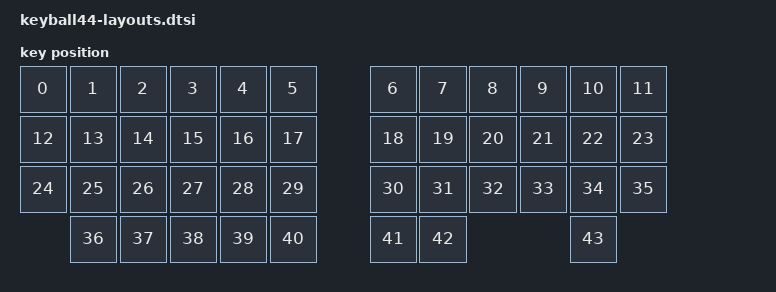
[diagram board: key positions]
#include <physical_layouts.dtsi>

/ {
    yutingwang_keyball44_layout: yutingwang_keyball44_layout {
        compatible = "zmk,physical-layout";
        display-name = "44 Key";

        keys  //                     w   h    x    y     rot    rx    ry
            = <&key_physical_attrs 100 100    0    0       0     0     0>
            , <&key_physical_attrs 100 100  100    0       0     0     0>
            , <&key_physical_attrs 100 100  200    0       0     0     0>
            , <&key_physical_attrs 100 100  300    0       0     0     0>
            , <&key_physical_attrs 100 100  400    0       0     0     0>
            , <&key_physical_attrs 100 100  500    0       0     0     0>
            , <&key_physical_attrs 100 100  700    0       0     0     0>
            , <&key_physical_attrs 100 100  800    0       0     0     0>
            , <&key_physical_attrs 100 100  900    0       0     0     0>
            , <&key_physical_attrs 100 100 1000    0       0     0     0>
            , <&key_physical_attrs 100 100 1100    0       0     0     0>
            , <&key_physical_attrs 100 100 1200    0       0     0     0>
            , <&key_physical_attrs 100 100    0  100       0     0     0>
            , <&key_physical_attrs 100 100  100  100       0     0     0>
            , <&key_physical_attrs 100 100  200  100       0     0     0>
            , <&key_physical_attrs 100 100  300  100       0     0     0>
            , <&key_physical_attrs 100 100  400  100       0     0     0>
            , <&key_physical_attrs 100 100  500  100       0     0     0>
            , <&key_physical_attrs 100 100  700  100       0     0     0>
            , <&key_physical_attrs 100 100  800  100       0     0     0>
            , <&key_physical_attrs 100 100  900  100       0     0     0>
            , <&key_physical_attrs 100 100 1000  100       0     0     0>
            , <&key_physical_attrs 100 100 1100  100       0     0     0>
            , <&key_physical_attrs 100 100 1200  100       0     0     0>
            , <&key_physical_attrs 100 100    0  200       0     0     0>
            , <&key_physical_attrs 100 100  100  200       0     0     0>
            , <&key_physical_attrs 100 100  200  200       0     0     0>
            , <&key_physical_attrs 100 100  300  200       0     0     0>
            , <&key_physical_attrs 100 100  400  200       0     0     0>
            , <&key_physical_attrs 100 100  500  200       0     0     0>
            , <&key_physical_attrs 100 100  700  200       0     0     0>
            , <&key_physical_attrs 100 100  800  200       0     0     0>
            , <&key_physical_attrs 100 100  900  200       0     0     0>
            , <&key_physical_attrs 100 100 1000  200       0     0     0>
            , <&key_physical_attrs 100 100 1100  200       0     0     0>
            , <&key_physical_attrs 100 100 1200  200       0     0     0>
            , <&key_physical_attrs 100 100  100  300       0     0     0>
            , <&key_physical_attrs 100 100  200  300       0     0     0>
            , <&key_physical_attrs 100 100  300  300       0     0     0>
            , <&key_physical_attrs 100 100  400  300       0     0     0>
            , <&key_physical_attrs 100 100  500  300       0     0     0>
            , <&key_physical_attrs 100 100  700  300       0     0     0>
            , <&key_physical_attrs 100 100  800  300       0     0     0>
            , <&key_physical_attrs 100 100 1100  300       0     0     0>
            ;
    };
};

/ {
    layouts_yutingwang_keyball44_position_map: layouts_yutingwang_keyball44_position_map {
        compatible = "zmk,physical-layout-position-map";

        complete;
    };
};

&layouts_yutingwang_keyball44_position_map {
    yutingwang_keyball44_posmap: keyball44 {
        physical-layout = <&yutingwang_keyball44_layout>;
        positions
            = < 0  1  2  3  4  5  6  7  8  9 10 11>
            , <12 13 14 15 16 17 18 19 20 21 22 23>
            , <24 25 26 27 28 29 30 31 32 33 34 35>
            , <   36 37 38 39 40 41 42       43   >;
    };
};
